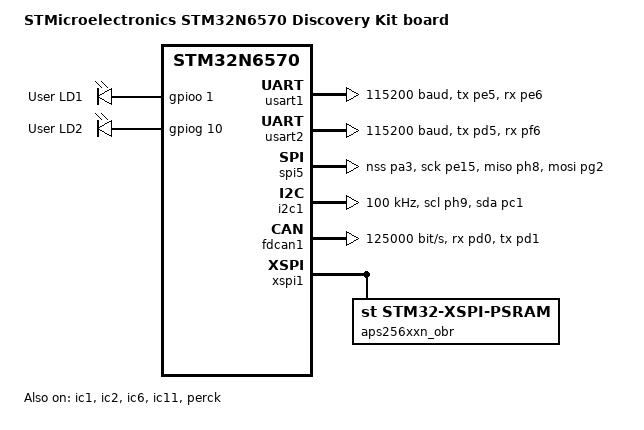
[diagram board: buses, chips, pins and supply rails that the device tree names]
/*
 * Copyright (c) 2024 STMicroelectronics
 *
 * SPDX-License-Identifier: Apache-2.0
 */

/dts-v1/;
#include <st/n6/stm32n657X0.dtsi>
#include <st/n6/stm32n657x0hxq-pinctrl.dtsi>
#include "arduino_r3_connector.dtsi"
#include <zephyr/dt-bindings/input/input-event-codes.h>

/ {
	model = "STMicroelectronics STM32N6570 Discovery Kit board";
	compatible = "st,stm32n6570-dk";

	#address-cells = <1>;
	#size-cells = <1>;

	chosen {
		zephyr,console = &usart1;
		zephyr,shell-uart = &usart1;
		zephyr,sram = &axisram1;
		zephyr,canbus = &fdcan1;
	};

	aliases {
		led0 = &green_led_1;
		ext-ram0 = &aps256xxn_obr;
	};

	leds: leds {
		compatible = "gpio-leds";
		green_led_1: led_1 {
			gpios = <&gpioo 1 GPIO_ACTIVE_HIGH>;
			label = "User LD1";
		};
		red_led_1: led_2 {
			gpios = <&gpiog 10 GPIO_ACTIVE_HIGH>;
			label = "User LD2";
		};
	};

};

&clk_hsi {
	hsi-div = <1>;
	status = "okay";
};

&pll1 {
	clocks = <&clk_hsi>;
	div-m = <4>;
	mul-n = <75>;
	div-p1 = <1>;
	div-p2 = <1>;
	status = "okay";
};

&ic1 {
	pll-src = <1>;
	ic-div = <2>;
	status = "okay";
};

&ic2 {
	pll-src = <1>;
	ic-div = <3>;
	status = "okay";
};

&ic6 {
	pll-src = <1>;
	ic-div = <2>;
	status = "okay";
};

&ic11 {
	pll-src = <1>;
	ic-div = <3>;
	status = "okay";
};

&perck {
	clocks = <&rcc STM32_SRC_HSI PER_SEL(0)>;
	status = "okay";
};

&cpusw {
	clocks = <&rcc STM32_SRC_IC1 CPU_SEL(3)>;
	status = "okay";
};

&rcc {
	/* ic2, ic6 & ic11 must all be enabled to set ic2 as SYSCLK */
	clocks = <&ic2>;
	clock-frequency = <DT_FREQ_M(400)>;
	ahb-prescaler = <2>;
	apb1-prescaler = <1>;
	apb2-prescaler = <1>;
	apb4-prescaler = <1>;
	apb5-prescaler = <1>;
};

&usart1 {
	clocks = <&rcc STM32_CLOCK_BUS_APB2 0x00000010>,
		 <&rcc STM32_SRC_CKPER USART1_SEL(1)>;
	pinctrl-0 = <&usart1_tx_pe5 &usart1_rx_pe6>;
	pinctrl-names = "default";
	current-speed = <115200>;
	status = "okay";
};

&usart2 {
	clocks = <&rcc STM32_CLOCK_BUS_APB1 0x00020000>,
		 <&rcc STM32_SRC_CKPER USART2_SEL(1)>;
	pinctrl-0 = <&usart2_tx_pd5 &usart2_rx_pf6>;
	pinctrl-names = "default";
	current-speed = <115200>;
	status = "okay";
};

&spi5 {
	clocks = <&rcc STM32_CLOCK_BUS_APB2 0x00100000>,
		 <&rcc STM32_SRC_CKPER SPI5_SEL(1)>;
	pinctrl-0 = <&spi5_nss_pa3 &spi5_sck_pe15 &spi5_miso_ph8 &spi5_mosi_pg2>;
	pinctrl-names = "default";
	status = "okay";
};

&i2c1 {
	clocks = <&rcc STM32_CLOCK_BUS_APB1 0x00200000>,
		 <&rcc STM32_SRC_CKPER I2C1_SEL(1)>;
	pinctrl-0 = <&i2c1_scl_ph9 &i2c1_sda_pc1>;
	pinctrl-names = "default";
	clock-frequency = <I2C_BITRATE_STANDARD>;
	status = "okay";
};

&fdcan1 {
	clocks = <&rcc STM32_CLOCK_BUS_APB1_2 0x00000100>,
		 <&rcc STM32_SRC_CKPER FDCAN_SEL(1)>;
	pinctrl-0 = <&fdcan1_rx_pd0 &fdcan1_tx_pd1>;
	pinctrl-names = "default";
	bus-speed = <125000>;
	bus-speed-data = <1000000>;
	status = "okay";
};

&xspi1 {
	clocks = <&rcc STM32_CLOCK_BUS_AHB5 0x00000020>,
		 <&rcc STM32_SRC_CKPER XSPI1_SEL(1)>,
		 <&rcc STM32_CLOCK_BUS_AHB5 0x00002000>;
	pinctrl-0 = <&xspim_p1_ncs1_po0 &xspim_p1_dqs0_po2
		     &xspim_p1_dqs1_po3 &xspim_p1_clk_po4
		     &xspim_p1_io0_pp0 &xspim_p1_io1_pp1 &xspim_p1_io2_pp2
		     &xspim_p1_io3_pp3 &xspim_p1_io4_pp4 &xspim_p1_io5_pp5
		     &xspim_p1_io6_pp6 &xspim_p1_io7_pp7 &xspim_p1_io8_pp8
		     &xspim_p1_io9_pp9 &xspim_p1_io10_pp10 &xspim_p1_io11_pp11
		     &xspim_p1_io12_pp12 &xspim_p1_io13_pp13 &xspim_p1_io14_pp14
		     &xspim_p1_io15_pp15>;
	pinctrl-names = "default";
	status = "okay";

	aps256xxn_obr: psram@90000000 {
		compatible = "st,stm32-xspi-psram", "zephyr,memory-region";
		reg = <0x90000000 DT_SIZE_M(32)>; /* 256 Mbits */
		zephyr,memory-region = "SRAM1";
		fixed-latency;
		io-x16-mode;
		read-latency = <1>;
		rbx;
		burst-length = <3>;
		status = "okay";
	};
};
